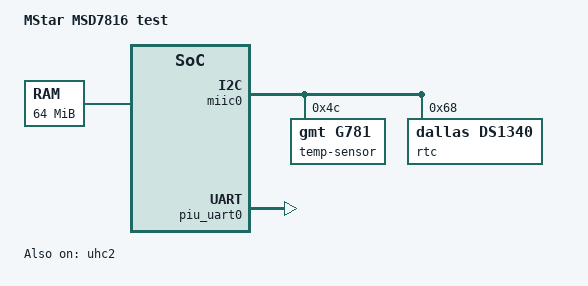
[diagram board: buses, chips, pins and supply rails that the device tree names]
// SPDX-License-Identifier: GPL-2.0
/dts-v1/;

#include "msd7816.dtsi"

/ {
	model = "MStar MSD7816 test";

	aliases {
		serial0 = &piu_uart0;
	};

	chosen {
		bootargs = "console=ttyS0,115200 root=/dev/sda2 rootwait";
	};

	memory@0 {
		device_type = "memory";
		reg = <0x0 0x4000000>;
	};

	reserved-memory {
		#address-cells = <1>;
		#size-cells = <1>;
		ranges;

		/* 4 megs for the framebuffer (will fit 1920x1080 @ 16bpp) */
		fb-memory@2100000 {
			reg = <0x2100000 0x1a0000>;
		};

		/* ve framebuffer */
		ve-memory@3200000 {
			reg = <0x3200000 0x1a0000>;
		};

		/* leave this for our experiments */
		tsukasa@3c00000 {
			reg = <0x3c00000 0x400000>;
		};
	};

	framebuffer@2100000 {
		compatible = "simple-framebuffer";
		reg = <0x2100000 0x1a0000>;
		width = <720>;
		height = <576>;
		stride = <(720*4)>;
		format = "x8r8g8b8";
	};
};

&miic0 {
	#address-cells = <1>;
	#size-cells = <0>;
	status = "okay";

	temp-sensor@4c {
		compatible = "gmt,g781";
		reg = <0x4c>;
		#thermal-sensor-cells = <1>;
	};

	rtc@68 {
		compatible = "dallas,ds1340";
		reg = <0x68>;
	};
};

&uhc2 {
	status = "okay";
};

&piu_uart0 {
	status = "okay";
};
